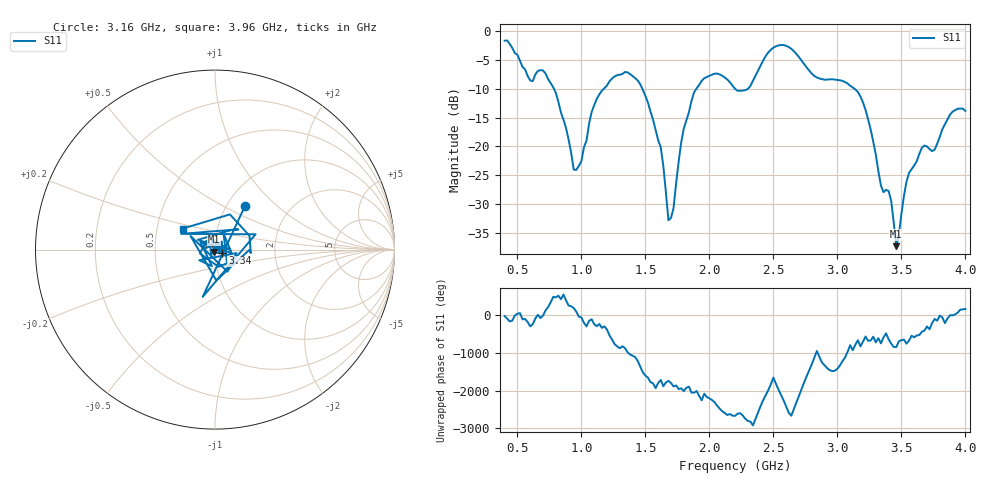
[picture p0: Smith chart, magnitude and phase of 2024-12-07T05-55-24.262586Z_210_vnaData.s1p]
!Created with skrf (http://scikit-rf.org).
# Hz S RI R 50.0
!freq ReS11 ImS11
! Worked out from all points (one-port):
!   181 points, 400 MHz to 4 GHz, reference 50 ohm
!   lowest |S11| = -37.3 dB at 3.46 GHz (marker M1), VSWR 1.03, Z = 49.2 - j1.09 ohm
!   |S11| at or under -10 dB: 786.2 MHz to 1.174 GHz (387.5 MHz wide, 39.5 % of centre); 1.477 GHz to 1.897 GHz (419.8 MHz wide, 24.9 % of centre); 3.136 GHz to end of sweep (the widest 3 of 4)
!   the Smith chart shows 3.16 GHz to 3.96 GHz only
!   S11 on the Smith chart (normalised r, x): 3.16 GHz: 1.21, +0.65; 3.34 GHz: 1.09, -0.04; 3.96 GHz: 0.68, +0.17
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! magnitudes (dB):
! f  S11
! 400 MHz  -1.6
! 600 MHz  -8.5
! 720 MHz  -7.3
! 860 MHz  -15.3
! 960 MHz  -24.1
! 1.12 GHz  -11.7
! 1.3 GHz  -7.5
! 1.52 GHz  -12.4
! 1.62 GHz  -20.1
! 1.68 GHz  -32.8
! 1.72 GHz  -30.7
! 1.76 GHz  -22.6
! 1.86 GHz  -12.1
! 1.94 GHz  -8.6
! 2.2 GHz  -10.0
! 2.3 GHz  -10.0
! 2.5 GHz  -2.8
! 2.66 GHz  -3.4
! 2.82 GHz  -7.7
! 3.1 GHz  -9.4
! 3.16 GHz  -10.5
! 3.26 GHz  -17.1
! 3.34 GHz  -26.8
! 3.42 GHz  -29.4
! 3.46 GHz  -37.3
! 3.56 GHz  -24.6
! 3.96 GHz  -13.4
! 4 GHz  -13.8
